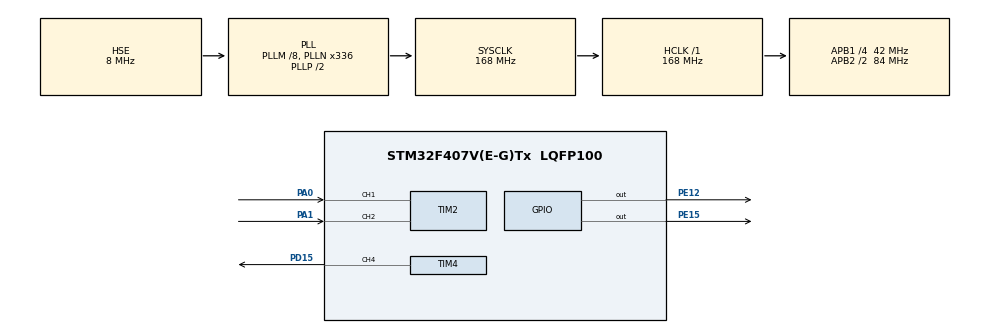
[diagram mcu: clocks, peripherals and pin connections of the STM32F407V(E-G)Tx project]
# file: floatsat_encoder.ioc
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Mcu.Family=STM32F4
Mcu.Name=STM32F407V(E-G)Tx
Mcu.Package=LQFP100
NVIC.PriorityGroup=NVIC_PRIORITYGROUP_0
PA0-WKUP.Signal=S_TIM2_CH1_ETR
PA1.Signal=S_TIM2_CH2
PA13.Mode=Serial_Wire
PA13.Signal=SYS_JTMS-SWDIO
PA14.Mode=Serial_Wire
PA14.Signal=SYS_JTCK-SWCLK
PD15.Signal=S_TIM4_CH4
PE12.Signal=GPIO_Output
PE15.Signal=GPIO_Output
PH0-OSC_IN.Mode=HSE-External-Oscillator
PH0-OSC_IN.Signal=RCC_OSC_IN
PH1-OSC_OUT.Mode=HSE-External-Oscillator
PH1-OSC_OUT.Signal=RCC_OSC_OUT
ProjectManager.HeapSize=0x200
ProjectManager.StackSize=0x400
ProjectManager.TargetToolchain=Makefile
RCC.48MHZClocksFreq_Value=48000000
RCC.AHBFreq_Value=168000000
RCC.APB1CLKDivider=RCC_HCLK_DIV4
RCC.APB1Freq_Value=42000000
RCC.APB1TimFreq_Value=84000000
RCC.APB2CLKDivider=RCC_HCLK_DIV2
RCC.APB2Freq_Value=84000000
RCC.APB2TimFreq_Value=168000000
RCC.CortexFreq_Value=168000000
RCC.HCLKFreq_Value=168000000
RCC.HSE_VALUE=8000000
RCC.HSI_VALUE=16000000
RCC.LSE_VALUE=32768
RCC.PLLM=8
RCC.PLLN=336
RCC.PLLQ=7
RCC.PLLSourceVirtual=RCC_PLLSOURCE_HSE
RCC.SYSCLKFreq_VALUE=168000000
RCC.SYSCLKSource=RCC_SYSCLKSOURCE_PLLCLK
RCC.VCOOutputFreq_Value=336000000
SH.S_TIM2_CH1_ETR.0=TIM2_CH1,Encoder_Interface
SH.S_TIM2_CH2.0=TIM2_CH2,Encoder_Interface
SH.S_TIM4_CH4.0=TIM4_CH4,PWM Generation4 CH4
TIM4.Channel-PWM\ Generation4\ CH4=TIM_CHANNEL_4
TIM4.Period=9999
TIM4.Prescaler=167
board=STM32F407G-DISC1

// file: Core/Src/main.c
/* USER CODE BEGIN Header */
/**
  ******************************************************************************
  * @file           : main.c
  * @brief          : Main program body
  ******************************************************************************
  * @attention
  *
  * Copyright (c) 2024 STMicroelectronics.
  * All rights reserved.
  *
  * This software is licensed under terms that can be found in the LICENSE file
  * in the root directory of this software component.
  * If no LICENSE file comes with this software, it is provided AS-IS.
  *
  ******************************************************************************
  */
/* USER CODE END Header */
#include "main.h"
#include "tim.h"
#include "gpio.h"

/* USER CODE BEGIN Includes */
#include<stdio.h>

/* USER CODE END Includes */

/* USER CODE BEGIN PV */
//int16_t orev_count = 0;

/* USER CODE END PV */

void SystemClock_Config(void);
/* USER CODE BEGIN PFP */
void init(void)
{
  // Encoder pins config: PA0 and PA1
  RCC->AHB1ENR |= RCC_AHB1ENR_GPIOAEN;
  GPIOA->MODER |= GPIO_MODER_MODER0_1 | GPIO_MODER_MODER1_1;
  GPIOA->AFR[0] |= (1 << 0 * 4) | (1 << 1 * 4);

  // TIM2 encoder mode 3. RM0090 Rev 18, Pg. 552
  RCC->APB1ENR |= RCC_APB1ENR_TIM2EN;
  TIM2->SMCR |= TIM_SMCR_SMS_0 | TIM_SMCR_SMS_1;
  TIM2->CCER &= ~(TIM_CCER_CC1NP | TIM_CCER_CC1P);
  TIM2->CCER &= ~(TIM_CCER_CC2NP | TIM_CCER_CC2P);
  TIM2->CCMR1 |= TIM_CCMR1_CC1S_0 | TIM_CCMR1_CC2S_0;
  TIM2->CCMR1 &= ~(TIM_CCMR1_IC1F_0 | TIM_CCMR1_IC1F_1 | TIM_CCMR1_IC1F_2 | TIM_CCMR1_IC1F_3);
  TIM2->CCMR1 &= ~(TIM_CCMR1_IC2F_0 | TIM_CCMR1_IC2F_1 | TIM_CCMR1_IC2F_2 | TIM_CCMR1_IC2F_3);
  TIM2->CR1 |= TIM_CR1_CEN;
}
int32_t get_count(void)
{
  return TIM2->CNT;
}

/* USER CODE END PFP */

/* USER CODE BEGIN 0 */
//int16_t prev_count = 0;
//#define PPR 64
//#define PI 3.14
//#define SAMPLE_TIME 400
//float get_omega(){
 // int16_t count = htim2.Imstance->CNT;
  //float omega = ((count - prev_count)*2*PI*1000/PPR)/SAMPLE_TIME;
 // prev_count = count;
 // return omega;
//}
//float omega = 0.0;
 int count = 0;

/* USER CODE END 0 */

int main(void)
{

  /* MCU Configuration--------------------------------------------------------*/

  /* Reset of all peripherals, Initializes the Flash interface and the Systick. */
  HAL_Init();

  /* Configure the system clock */
  SystemClock_Config();

  /* Initialize all configured peripherals */
  MX_GPIO_Init();
  MX_TIM2_Init();
  MX_TIM4_Init();
  /* USER CODE BEGIN 2 */
   HAL_TIM_PWM_Start(&htim4,TIM_CHANNEL_4);
   HAL_TIM_Encoder_Start(&htim2,TIM_CHANNEL_4);

  /* USER CODE END 2 */

  /* Infinite loop */
  while (1)
  {

    /* USER CODE BEGIN 3 */
    // int16_t count = htim2.Instance->CNT;
      HAL_GPIO_WritePin(GPIOE,GPIO_PIN_12,1);
      HAL_GPIO_WritePin(GPIOE,GPIO_PIN_15,0);
      TIM4->CCR1 = 1000;
    //  omega = get_omega();
    //  printf("Switch Released,Encoder Ticks = %f\n",omega);
    // // printf("count  ::%d\n",count);
    // printf("count ::%d\n", htim2.Instance->CNT);

    // cnt = htim2.Instance->CNT;
    // HAL
    // _Delay(SAMPLE_TIME);
    count = get_count();
    printf("count   ::%ld\n",get_count());
    // printf(get_count);
  }
  /* USER CODE END 3 */
}

void SystemClock_Config(void)
{
  RCC_OscInitTypeDef RCC_OscInitStruct = {0};
  RCC_ClkInitTypeDef RCC_ClkInitStruct = {0};

  /** Configure the main internal regulator output voltage
  */
  __HAL_RCC_PWR_CLK_ENABLE();
  __HAL_PWR_VOLTAGESCALING_CONFIG(PWR_REGULATOR_VOLTAGE_SCALE1);

  /** Initializes the RCC Oscillators according to the specified parameters
  * in the RCC_OscInitTypeDef structure.
  */
  RCC_OscInitStruct.OscillatorType = RCC_OSCILLATORTYPE_HSE;
  RCC_OscInitStruct.HSEState = RCC_HSE_ON;
  RCC_OscInitStruct.PLL.PLLState = RCC_PLL_ON;
  RCC_OscInitStruct.PLL.PLLSource = RCC_PLLSOURCE_HSE;
  RCC_OscInitStruct.PLL.PLLM = 8;
  RCC_OscInitStruct.PLL.PLLN = 336;
  RCC_OscInitStruct.PLL.PLLP = RCC_PLLP_DIV2;
  RCC_OscInitStruct.PLL.PLLQ = 7;
  if (HAL_RCC_OscConfig(&RCC_OscInitStruct) != HAL_OK)
  {
    Error_Handler();
  }

  /** Initializes the CPU, AHB and APB buses clocks
  */
  RCC_ClkInitStruct.ClockType = RCC_CLOCKTYPE_HCLK|RCC_CLOCKTYPE_SYSCLK
                              |RCC_CLOCKTYPE_PCLK1|RCC_CLOCKTYPE_PCLK2;
  RCC_ClkInitStruct.SYSCLKSource = RCC_SYSCLKSOURCE_PLLCLK;
  RCC_ClkInitStruct.AHBCLKDivider = RCC_SYSCLK_DIV1;
  RCC_ClkInitStruct.APB1CLKDivider = RCC_HCLK_DIV4;
  RCC_ClkInitStruct.APB2CLKDivider = RCC_HCLK_DIV2;

  if (HAL_RCC_ClockConfig(&RCC_ClkInitStruct, FLASH_LATENCY_5) != HAL_OK)
  {
    Error_Handler();
  }
}

void Error_Handler(void)
{
  __disable_irq();
  while (1)
  {
  }
}
